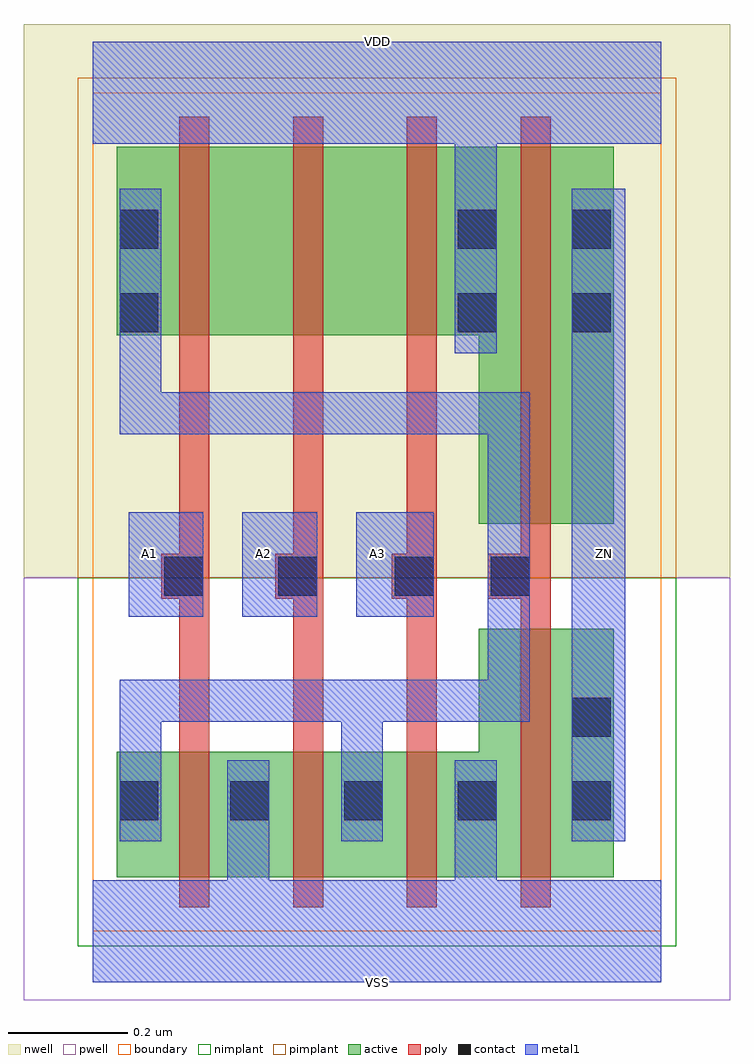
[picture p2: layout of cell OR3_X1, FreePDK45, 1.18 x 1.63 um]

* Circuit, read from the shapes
.subckt OR3_X1 A1 A2 A3 VDD VSS ZN
M1 VSS A1 n1 VSUBS nfet w=0.21u l=0.05u
M2 n1 A2 VSS VSUBS nfet w=0.21u l=0.05u
M3 VSS A3 n1 VSUBS nfet w=0.21u l=0.05u
M4 ZN n1 VSS VSUBS nfet w=0.415u l=0.05u
M5 n2 A1 n1 n3 pfet w=0.315u l=0.05u
M6 n4 A2 n2 n3 pfet w=0.315u l=0.05u
M7 VDD A3 n4 n3 pfet w=0.315u l=0.05u
M8 ZN n1 VDD n3 pfet w=0.63u l=0.05u
.ends

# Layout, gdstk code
import gdstk
lib = gdstk.Library(unit=1e-6, precision=5e-10)
def R(c, l, rs):  # rectangles x0, y0, x1, y1
    for r in rs: c.add(gdstk.rectangle(r[:2], r[2:], *l))
def A(c, l, x, y, w, h, nx, ny, dx, dy):  # array of equal rectangles
    R(c, l, [(x+i*dx, y+j*dy, x+i*dx+w, y+j*dy+h) for i in range(nx) for j in range(ny)])
def P(c, l, *ps):  # polygons
    for p in ps: c.add(gdstk.Polygon(p, *l))
active = (1, 0)
pwell = (2, 0)
nwell = (3, 0)
nimplant = (4, 0)
pimplant = (5, 0)
poly = (9, 0)
contact = (10, 0)
metal1 = (11, 0)
boundary = (235, 0)

or3_x1 = lib.new_cell('OR3_X1')
P(or3_x1, active, [(0.04,0.995),(0.645,0.995),(0.645,0.68),(0.87,0.68),(0.87,1.31),(0.04,1.31)],
  [(0.04,0.09),(0.87,0.09),(0.87,0.505),(0.645,0.505),(0.645,0.3),(0.04,0.3)])
R(or3_x1, pwell, [(-0.115,-0.115,1.065,0.59)])
R(or3_x1, nwell, [(-0.115,0.59,1.065,1.515)])
R(or3_x1, nimplant, [(-0.025,-0.025,0.975,0.59)])
R(or3_x1, pimplant, [(-0.025,0.59,0.975,1.425)])
P(or3_x1, poly, [(0.66,0.555),(0.715,0.555),(0.715,0.04),(0.765,0.04),(0.765,1.36),(0.715,1.36),(0.715,0.63),(0.66,0.63)],
  [(0.5,0.555),(0.525,0.555),(0.525,0.04),(0.575,0.04),(0.575,1.36),(0.525,1.36),(0.525,0.63),(0.5,0.63)],
  [(0.305,0.555),(0.335,0.555),(0.335,0.04),(0.385,0.04),(0.385,1.36),(0.335,1.36),(0.335,0.63),(0.305,0.63)],
  [(0.115,0.555),(0.145,0.555),(0.145,0.04),(0.195,0.04),(0.195,1.36),(0.145,1.36),(0.145,0.63),(0.115,0.63)])
A(or3_x1, contact, 0.23, 0.185, 0.065, 0.065, 4, 1, 0.19, 0)
R(or3_x1, contact, [(0.045,0.185,0.11,0.25), (0.8,0.325,0.865,0.39), (0.12,0.56,0.185,0.625), (0.31,0.56,0.375,0.625), (0.505,0.56,0.57,0.625), (0.665,0.56,0.73,0.625), (0.045,1,0.11,1.065), (0.61,1,0.675,1.065), (0.8,1,0.865,1.065), (0.045,1.14,0.11,1.205), (0.61,1.14,0.675,1.205), (0.8,1.14,0.865,1.205)])
R(or3_x1, metal1, [(0.8,0.15,0.89,1.24), (0.8,0.15,0.89,1.24), (0.06,0.525,0.185,0.7), (0.06,0.525,0.185,0.7), (0.25,0.525,0.375,0.7), (0.25,0.525,0.375,0.7), (0.44,0.525,0.57,0.7), (0.44,0.525,0.57,0.7)])
P(or3_x1, metal1, [(0,-0.085),(0.95,-0.085),(0.95,0.085),(0.675,0.085),(0.675,0.285),(0.605,0.285),(0.605,0.085),(0.295,0.085),(0.295,0.285),(0.225,0.285),(0.225,0.085),(0,0.085)],
  [(0,1.315),(0.605,1.315),(0.605,0.965),(0.675,0.965),(0.675,1.315),(0.95,1.315),(0.95,1.485),(0,1.485)],
  [(0,1.315),(0.605,1.315),(0.605,0.965),(0.675,0.965),(0.675,1.315),(0.95,1.315),(0.95,1.485),(0,1.485)],
  [(0,-0.085),(0.95,-0.085),(0.95,0.085),(0.675,0.085),(0.675,0.285),(0.605,0.285),(0.605,0.085),(0.295,0.085),(0.295,0.285),(0.225,0.285),(0.225,0.085),(0,0.085)],
  [(0.045,0.83),(0.66,0.83),(0.66,0.42),(0.045,0.42),(0.045,0.15),(0.115,0.15),(0.115,0.35),(0.415,0.35),(0.415,0.15),(0.485,0.15),(0.485,0.35),(0.73,0.35),(0.73,0.9),(0.115,0.9),(0.115,1.24),(0.045,1.24)])
R(or3_x1, boundary, [(0,0,0.95,1.4)])
or3_x1.add(gdstk.Label('ZN', (0.855,0.63), layer=11, texttype=0))
or3_x1.add(gdstk.Label('VSS', (0.475,-0.085), layer=11, texttype=0))
or3_x1.add(gdstk.Label('VDD', (0.475,1.485), layer=11, texttype=0))
or3_x1.add(gdstk.Label('A3', (0.475,0.63), layer=11, texttype=0))
or3_x1.add(gdstk.Label('A2', (0.285,0.63), layer=11, texttype=0))
or3_x1.add(gdstk.Label('A1', (0.095,0.63), layer=11, texttype=0))

lib.write_gds('OR3_X1.gds')
